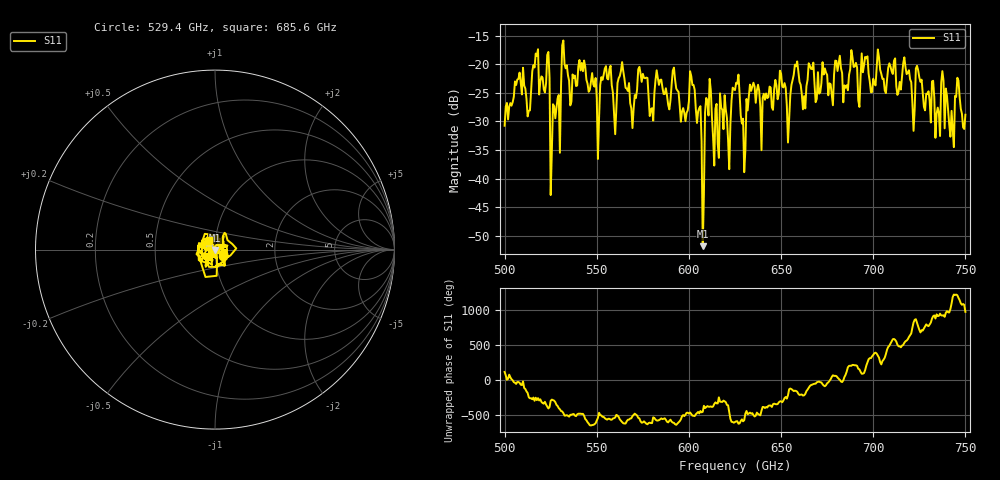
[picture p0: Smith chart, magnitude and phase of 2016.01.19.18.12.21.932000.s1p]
!Created with skrf (http://scikit-rf.org).
# GHz S RI R 50.0
!freq ReS11 ImS11
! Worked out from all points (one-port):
!   401 points, 500 GHz to 750 GHz, reference 50 ohm
!   lowest |S11| = -51.8 dB at 607.5 GHz (marker M1), VSWR 1.01, Z = 50 - j0.256 ohm
!   |S11| at or under -10 dB: start of sweep to end of sweep
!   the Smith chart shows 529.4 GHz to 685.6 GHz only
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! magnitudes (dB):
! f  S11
! 500 GHz  -30.8
! 506.9 GHz  -22.7
! 513.1 GHz  -28.1
! 516.9 GHz  -18.1
! 523.1 GHz  -18.4
! 526.2 GHz  -27.0
! 531.2 GHz  -16.7
! 541.9 GHz  -19.8
! 550 GHz  -25.9
! 562.5 GHz  -22.1
! 569.4 GHz  -31.2
! 573.8 GHz  -21.6
! 579.4 GHz  -27.9
! 583.1 GHz  -22.4
! 593.8 GHz  -24.6
! 596.9 GHz  -27.7
! 601.9 GHz  -23.6
! 607.5 GHz  -51.8
! 610.6 GHz  -29.0
! 621.2 GHz  -33.3
! 625 GHz  -24.5
! 629.4 GHz  -29.5
! 634.4 GHz  -24.0
! 653.8 GHz  -33.7
! 656.2 GHz  -22.8
! 687.5 GHz  -20.9
! 718.8 GHz  -21.5
! 750 GHz  -28.8
